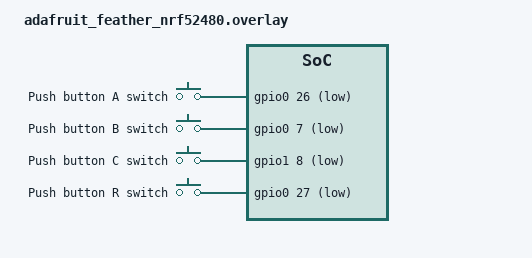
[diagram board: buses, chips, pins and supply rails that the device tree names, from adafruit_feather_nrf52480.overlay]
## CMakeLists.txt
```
cmake_minimum_required(VERSION 3.20.0)
# Top-level CMakeLists.txt for the skeleton application.
#
# Copyright (c) 2017 Open Source Foundries Limited
#
# SPDX-License-Identifier: Apache-2.0
#
# This provides a basic application structure suitable for communication using
# mcumgr.  It can be used as a starting point for new applications.

# Standard Zephyr application boilerplate.
find_package(Zephyr REQUIRED HINTS $ENV{ZEPHYR_BASE})
project(smp_svr)

include(${ZEPHYR_BASE}/cmake/cfb.cmake NO_POLICY_SCOPE)

target_sources(app PRIVATE src/main.c)
target_sources_ifdef(CONFIG_MCUMGR_SMP_BT app PRIVATE src/bluetooth.c)
target_sources_ifdef(CONFIG_MCUMGR_SMP_UDP app PRIVATE src/udp.c)
target_sources(app PRIVATE src/event.c)
target_sources(app PRIVATE src/uievq.c)
target_sources(app PRIVATE src/buttons.c)
target_sources(app PRIVATE src/shell_parse.c)
target_sources(app PRIVATE src/shell_cfb.c)

set(gen_dir ${ZEPHYR_BINARY_DIR}/include/generated/)
generate_cfb_font_for_target(app fonts/magic5.ttf ${gen_dir}/cfb_font_magic5.h 8 8 -s 8 --first 32 --last 126)
```

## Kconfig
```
# rsource "drivers/Kconfig"

#menuconfig USER_INTERFACE
#	   bool "user interface"

#if USER_INTERFACE

config NUMBER_OF_BUTTONS
       int "Number of buttons to use"

config UI_EVENT_QUEUE_SIZE
       int "Number of events the user event queue can hold"

source "Kconfig.zephyr"
#endif
```

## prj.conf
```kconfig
# Enable mcumgr.
CONFIG_MCUMGR=y

# Some command handlers require a large stack.
CONFIG_SYSTEM_WORKQUEUE_STACK_SIZE=2304
CONFIG_MAIN_STACK_SIZE=2048

# Ensure an MCUboot-compatible binary is generated.
CONFIG_BOOTLOADER_MCUBOOT=y

# Enable flash operations.
CONFIG_FLASH=y

# Required by the `taskstat` command.
CONFIG_THREAD_MONITOR=y

# Support for taskstat command
CONFIG_OS_MGMT_TASKSTAT=y

# Enable statistics and statistic names.
CONFIG_STATS=y
CONFIG_STATS_NAMES=y

# Enable most core commands.
CONFIG_MCUMGR_CMD_IMG_MGMT=y
CONFIG_MCUMGR_CMD_OS_MGMT=y
CONFIG_MCUMGR_CMD_STAT_MGMT=y

# Enable logging
CONFIG_LOG=y
CONFIG_MCUBOOT_UTIL_LOG_LEVEL_WRN=y

##
#CONFIG_USER_INTERFACE=y
CONFIG_NUMBER_OF_BUTTONS=5
CONFIG_UI_EVENT_QUEUE_SIZE=10
```

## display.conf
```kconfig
CONFIG_HEAP_MEM_POOL_SIZE=4096

CONFIG_DISPLAY=y
CONFIG_SSD1306=y

CONFIG_CFB_LOG_LEVEL_DBG=y
CONFIG_CHARACTER_FRAMEBUFFER=y
CONFIG_CHARACTER_FRAMEBUFFER_USE_DEFAULT_FONTS=n
CONFIG_SSD1306_REVERSE_MODE=y
CONFIG_I2C=y
```

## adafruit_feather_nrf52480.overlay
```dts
/*
	
*/

/ {
	buttons {
		// D5  is P1.08
		// D6  is P0.07
		// D7  is P1.02 (Button)
		// D8  is P0.16 (NeoPixel)
		// D9  is P0.26
		// D10 is P0.27
		/* GPIO D9 -> P0.26 */
		buttonA: button_a {
			gpios = <&gpio0 26 (GPIO_PULL_UP | GPIO_ACTIVE_LOW)>;
			label = "Push button A switch";
		};
		/* GPIO D6 -> P0.07 */
		buttonB: button_b {
			gpios = <&gpio0 7 (GPIO_PULL_UP | GPIO_ACTIVE_LOW)>;
			label = "Push button B switch";
		};
		/* GPIO D5 -> P1.08 */
		buttonC: button_c {
			gpios = <&gpio1 8 (GPIO_PULL_UP | GPIO_ACTIVE_LOW)>;
			label = "Push button C switch";
		};
		/* GPIO D10 -> P0.27 */
		buttonR: button_r {
			gpios = <&gpio0 27 (GPIO_PULL_UP | GPIO_ACTIVE_LOW)>;
			label = "Push button R switch";			
		};
	};
};

/ {
	aliases {
		sw1 = &buttonA;
		sw2 = &buttonB;
		sw3 = &buttonC;
		sw4 = &buttonR;
	};
};

/*
Local Variables: 
mode: dts
End:
*/
```

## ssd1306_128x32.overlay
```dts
/*
 * Copyright (c) 2019 PHYTEC Messtechnik GmbH
 *
 * SPDX-License-Identifier: Apache-2.0
 */

/ {
	chosen {
		zephyr,display = &ssd1306;
	};
};

&i2c0 {
	status = "okay";

	ssd1306: ssd1306@3c {
		compatible = "solomon,ssd1306fb";
		reg = <0x3c>;
		label = "SSD1306";
		width = <128>;
		height = <32>;
		segment-offset = <0>;
		page-offset = <0>;
		display-offset = <0>;
		multiplex-ratio = <31>;
		segment-remap;
		com-invdir;
		com-sequential;
		prechargep = <0x22>;
	};
};
```

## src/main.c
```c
/*
 * Copyright (c) 2012-2014 Wind River Systems, Inc.
 * Copyright (c) 2020 Prevas A/S
 *
 * SPDX-License-Identifier: Apache-2.0
 */

#include <zephyr/kernel.h>
#include <zephyr/stats/stats.h>
#include <zephyr/usb/usb_device.h>
#include <zephyr/drivers/gpio.h>
#include <zephyr/display/cfb.h>
#include "cfb_font_magic5.h"

#ifdef CONFIG_MCUMGR_CMD_FS_MGMT
#include <zephyr/device.h>
#include <zephyr/fs/fs.h>
#include "fs_mgmt/fs_mgmt.h"
#include <zephyr/fs/littlefs.h>
#endif
#ifdef CONFIG_MCUMGR_CMD_OS_MGMT
#include "os_mgmt/os_mgmt.h"
#endif
#ifdef CONFIG_MCUMGR_CMD_IMG_MGMT
#include "img_mgmt/img_mgmt.h"
#endif
#ifdef CONFIG_MCUMGR_CMD_STAT_MGMT
#include "stat_mgmt/stat_mgmt.h"
#endif
#ifdef CONFIG_MCUMGR_CMD_SHELL_MGMT
#include "shell_mgmt/shell_mgmt.h"
#endif
#ifdef CONFIG_MCUMGR_CMD_FS_MGMT
#include "fs_mgmt/fs_mgmt.h"
#endif

#define LOG_LEVEL LOG_LEVEL_DBG
#include <zephyr/logging/log.h>
LOG_MODULE_REGISTER(smp_sample, LOG_LEVEL_DBG);

#include "common.h"

#include "uievq.h"
#include "buttons.h"
#include "shell_cfb.h"

/* Define an example stats group; approximates seconds since boot. */
STATS_SECT_START(smp_svr_stats)
STATS_SECT_ENTRY(ticks)
STATS_SECT_END;

/* Assign a name to the `ticks` stat. */
STATS_NAME_START(smp_svr_stats)
STATS_NAME(smp_svr_stats, ticks)
STATS_NAME_END(smp_svr_stats);

/* Define an instance of the stats group. */
STATS_SECT_DECL(smp_svr_stats) smp_svr_stats;

/* #ifdef CONFIG_MCUMGR_CMD_FS_MGMT */
/* FS_LITTLEFS_DECLARE_DEFAULT_CONFIG(cstorage); */
/* static struct fs_mount_t littlefs_mnt = { */
/* 	.type = FS_LITTLEFS, */
/* 	.fs_data = &cstorage, */
/* 	.storage_dev = (void *)FLASH_AREA_ID(storage), */
/* 	.mnt_point = "/lfs1" */
/* }; */
/* #endif */


void main(void)
{
  int rc = STATS_INIT_AND_REG(smp_svr_stats, STATS_SIZE_32,
			      "smp_svr_stats");
  
  if (rc < 0) {
    LOG_ERR("Error initializing stats system [%d]", rc);
  }

  /* Register the built-in mcumgr command handlers. */
/* #ifdef CONFIG_MCUMGR_CMD_FS_MGMT */
/*   rc = fs_mount(&littlefs_mnt); */
/*   if (rc < 0) { */
/*     LOG_ERR("Error mounting littlefs [%d]", rc); */
/*   } */
  
/*   fs_mgmt_register_group(); */
/* #endif */
#ifdef CONFIG_MCUMGR_CMD_OS_MGMT
  os_mgmt_register_group();
#endif
#ifdef CONFIG_MCUMGR_CMD_IMG_MGMT
  img_mgmt_register_group();
#endif
#ifdef CONFIG_MCUMGR_CMD_STAT_MGMT
  stat_mgmt_register_group();
#endif
#ifdef CONFIG_MCUMGR_CMD_SHELL_MGMT
  shell_mgmt_register_group();
#endif
#ifdef CONFIG_MCUMGR_CMD_FS_MGMT
  fs_mgmt_register_group();
#endif
#ifdef CONFIG_MCUMGR_SMP_BT
  start_smp_bluetooth();
#endif
#ifdef CONFIG_MCUMGR_SMP_UDP
  start_smp_udp();
#endif

  if (IS_ENABLED(CONFIG_USB_DEVICE_STACK)) {
    rc = usb_enable(NULL);
    if (rc) {
      LOG_ERR("Failed to enable USB");
      return;
    }
  }

  ui_evq_init();
  init_buttons();

  const struct device *dev;

  dev = DEVICE_DT_GET(DT_CHOSEN(zephyr_display));
  if (!device_is_ready(dev)) {
    LOG_ERR("Device %s not ready\n", dev->name);
    return;
  }
  
  if (display_set_pixel_format(dev, PIXEL_FORMAT_MONO10) != 0) {
    LOG_ERR("Failed to set required pixel format\n");
    return;
  }
  LOG_INF("Initialized %s\n", dev->name);
  
  if (cfb_framebuffer_init(dev)) {
    LOG_ERR("Framebuffer initialization failed!\n");
    return;
  }
  cfb_framebuffer_set_font(dev, 0);	      
  //cfb_framebuffer_invert(dev);
  cfb_framebuffer_clear(dev, true);
  display_blanking_off(dev);
  cfb_framebuffer_finalize(dev);
  
  LOG_INF("build time: " __DATE__ " " __TIME__);
  
  /* The system work queue handles all incoming mcumgr requests.  Let the
   * main thread idle while the mcumgr server runs.
   */
  // char buf[32];
  enable_shell_cfb(NULL);
  while (1) {
    k_sleep(Z_TIMEOUT_MS(1000));
    shell_cfb_event_loop( dev);
    /* uint32_t ev = ui_evq_get( K_FOREVER); */
    /* int btn = FIELD_GET( BTN_NR_MASK, ev); */
    /* int state = FIELD_GET( BTN_STATE_BIT, ev); */
    
    /* if (btn == 4 && state == 0) { */
    /*   cfb_framebuffer_clear(dev, true); */
    /*   cfb_framebuffer_finalize(dev); */
    /*   gpio_pin_set(led0, PIN, 0); */
    /* } else { */
    /*   cfb_framebuffer_clear(dev, false); */
    /*   snprintf(buf, sizeof(buf), "%d, %d", btn, state); */
    /*   cfb_print(dev, buf, 0, 0); */
    /*   cfb_framebuffer_finalize(dev); */
    /*   gpio_pin_set(led0, PIN, 1);	       */
    /*  } */
  }
}
```

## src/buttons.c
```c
#include "buttons.h"
#include <zephyr/device.h>
#include <zephyr/drivers/gpio.h>

#define LOG_LEVEL LOG_LEVEL_DBG
#include <zephyr/logging/log.h>
LOG_MODULE_REGISTER( buttons);

#define NR_OF_BUTTONS CONFIG_NUMBER_OF_BUTTONS

static uint8_t default_pin_values[NR_OF_BUTTONS];
static struct gpio_callback callback[NR_OF_BUTTONS];

K_EVENT_DEFINE( bt_events);

extern struct k_event* button_events()
{ return &bt_events; }

/*
 * Create gpio_dt_spec structures from the devicetree.
 */
#define BUTTON_SPEC( n, _)					\
  static const struct gpio_dt_spec sw##n =			\
    GPIO_DT_SPEC_GET_OR( DT_ALIAS( sw##n ), gpios, {0});

LISTIFY( NR_OF_BUTTONS, BUTTON_SPEC, (;));

/* Devices */

#define BUTTON_CALLBACK( n, _)						\
  void btn##n( const struct device *gpio, struct gpio_callback* cb, uint32_t val) \
  {									\
    const int ret = gpio_pin_get( gpio, sw##n.pin);			\
    if (ret < 0) {							\
      LOG_ERR("Failed to get the state of port %s pin %u, error: %d",	\
	      gpio->name, sw##n.pin, ret);				\
      return;								\
    }									\
    k_event_set_masked							\
      ( &bt_events,							\
	(default_pin_values[(n)] != (uint8_t)ret) ?			\
      BIT( 2*n+1) : BIT( 2*n), GENMASK( 2*n+1, 2*n));			\
  }

LISTIFY( NR_OF_BUTTONS, BUTTON_CALLBACK, (;));

int callback_configure
( const struct gpio_dt_spec *spec,
  gpio_callback_handler_t handler,
  struct gpio_callback *cb )
{
  if (!spec->port) {
    LOG_ERR("Could not find gpio PORT");
    return -ENXIO;
  }
  gpio_pin_configure_dt( spec, GPIO_INPUT /* | GPIO_INT_DEBOUNCE */ );
  gpio_init_callback( cb, handler, BIT( spec->pin));
  gpio_add_callback( spec->port, cb);
  gpio_pin_interrupt_configure( spec->port, spec->pin, GPIO_INT_EDGE_BOTH);
  return 0;
}

#define CALLBACK_CONFIGURE(n, _)			\
  callback_configure( &sw##n, &btn##n, &callback[n] );						

void init_buttons()
{
  LISTIFY( NR_OF_BUTTONS, CALLBACK_CONFIGURE, (;));
}
```

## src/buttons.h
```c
#include <zephyr/kernel.h>

extern struct k_event* button_events();
void init_buttons();
```

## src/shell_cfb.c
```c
/*
 * Shell backend used for testing
 *
 * Copyright (c) 2018 Nordic Semiconductor ASA
 *
 * SPDX-License-Identifier: Apache-2.0
 */

#include "shell_cfb.h"
#include "shell_parse.h"
#include "strbuf.h" 
#include <zephyr/sys/util.h>
#include <zephyr/init.h>
#include <zephyr/logging/log.h>
#include <zephyr/logging/log_core.h>
#include <zephyr/display/cfb.h>

#include "buttons.h"

#define SHELL_CFB_LOG_MESSAGE_QUEUE_SIZE 100
#define SHELL_CFB_LOG_MESSAGE_QUEUE_TIMEOUT 1000
//#define CMD_ALT_SIZE 256
//#define CMD_CHS_SIZE 256
#define SHELL_PROMPT_CFB "cfb$"

SHELL_CFB_DEFINE(shell_transport_cfb, SHELL_PROMPT_CFB, 128, 128, 128);
SHELL_DEFINE(shell_cfb, SHELL_PROMPT_CFB, &shell_transport_cfb,
	     SHELL_CFB_LOG_MESSAGE_QUEUE_SIZE,
	     SHELL_CFB_LOG_MESSAGE_QUEUE_TIMEOUT,
	     SHELL_FLAG_OLF_CRLF);
LOG_MODULE_REGISTER(shell_cfb, LOG_LEVEL_DBG);

struct shell_cfb *sh_cfb;

RING_BUF_DECLARE( rx_ringbuf, 64); // size...64

#define SHELL_WRITE_EVENT BIT(31)

static int init(const struct shell_transport *transport,
		const void *config,
		shell_transport_handler_t evt_handler,
		void *context)
{
  sh_cfb = (struct shell_cfb *) transport->ctx;  
  sh_cfb->shell_handler = evt_handler;
  sh_cfb->shell_context = context;
  ring_buf_reset( &rx_ringbuf);
  return 0;
}

#define BTN1P 0x8
#define BTN2P 0x20
#define BTN3P 0x80

void shell_cfb_event_loop( const struct device *cfb) {
  /* LOG_INF( "event_loop: vt=%d,ct=%d,alt='%s',alt.size=%d,cmd='%s',cmd.size=%d", */
  /* 	   sh_cfb->vt, sh_cfb->ct, */
  /* 	   sh_cfb->alt->buffer, sh_cfb->alt->size, */
  /* 	   sh_cfb->cmd->buffer, sh_cfb->cmd->size); */
  
  size_t alt_pos = 0;
  while (1) {
    //LOG_INF( "alt_pos:%d,alt_size:%d",alt_pos,sh_cfb->alt->size);
    bool refresh_display = false; 
    uint32_t ev_ = k_event_wait( button_events(), 0xffffffff, true, K_FOREVER);
    // btn1 tab pressed
    if ( ev_ & BTN1P ) {
      LOG_INF( "BTN1P tab button");
      // cycle through alternatives
      size_t alt_pos_ = alt_pos; // store where we started
      while( alt_pos < sh_cfb->p->alt->size && sh_cfb->p->alt->buffer[ alt_pos] != ' ')
	++alt_pos;
      if( alt_pos < sh_cfb->p->alt->size) {
	++alt_pos; // advance to next entry
	refresh_display = true;
      }
      else if( alt_pos == sh_cfb->p->alt->size) { // we are on the end
	if( alt_pos_ == 0) {
	  // we had only one alternative or no at all
	  // so we sent the tab key to the shell
	  uint8_t *data;
	  ring_buf_put_claim( &rx_ringbuf, &data, rx_ringbuf.size);
	  strcpy( data, "\t");
	  ring_buf_put_finish( &rx_ringbuf, strlen( data));
	  sh_cfb->shell_handler( SHELL_TRANSPORT_EVT_RX_RDY,
				 sh_cfb->shell_context);    
	} else {
	  alt_pos = 0; // wrap around
	  refresh_display = true;
	}
      }
    }
    if( ev_ & BTN2P ) {
      LOG_INF( "BTN2P");
      // choose current alternative
      uint8_t *data;
      ring_buf_put_claim( &rx_ringbuf, &data, rx_ringbuf.size);
      strcpy( data, sh_cfb->p->alt->buffer + alt_pos);
      strcat( data, " \t");
      ring_buf_put_finish( &rx_ringbuf, strlen( data));
      // we already have choosed the root 
      sh_cfb->shell_handler( SHELL_TRANSPORT_EVT_RX_RDY,
			     sh_cfb->shell_context);    
    }
    if( ev_ & BTN3P ) {
      LOG_INF( "BTN3P");
      // execute command
      uint8_t *data;
      ring_buf_put_claim( &rx_ringbuf, &data, rx_ringbuf.size);
      strcpy( data, "\r");
      ring_buf_put_finish( &rx_ringbuf, strlen( data));
      // we would like to receive the result
      sh_cfb->shell_handler( SHELL_TRANSPORT_EVT_RX_RDY,
			     sh_cfb->shell_context);      
    }
    if ( (ev_ & SHELL_WRITE_EVENT) || refresh_display ) {
      LOG_INF( "Display" );
      char buf[128];
      size_t i = 0, j = 0;
      while( j < sh_cfb->p->cmd->size && i < 128) 
	buf[i++] = sh_cfb->p->cmd->buffer[ j++];
      j = alt_pos;
      while( j < sh_cfb->p->alt->size && i < 128) 
	buf[i++] = sh_cfb->p->alt->buffer[ j++];
      if( i < 128) buf[i]='\0'; else buf[127]='\0';
      cfb_framebuffer_clear(cfb, false);
      cfb_print( cfb, buf, 0, 0); 
      cfb_framebuffer_finalize( cfb);      
    }
  }
}

static int uninit(const struct shell_transport *transport)
{
  if ( sh_cfb == NULL) {
    return -ENODEV;
  }
  return 0;
}

static int enable(const struct shell_transport *transport, bool blocking)
{
  if (sh_cfb == NULL) {
    return -ENODEV;
  }
  
  return 0;
}

static int write(const struct shell_transport *transport,
		 const void *data, size_t length, size_t *cnt)
{
  if ( sh_cfb == NULL) {
    *cnt = 0;
    return -ENODEV;
  }
  const char* data_ = (const char *) data;
  //LOG_HEXDUMP_INF( data_, length,"write data:");
  *cnt = shell_parse(  data_, length, sh_cfb->p);
  /* LOG_INF( "ct=%d,cmd='%s',alt='%s',out='%s'", */
  /* 	   sh_cfb->p->ct, */
  /* 	   sh_cfb->p->cmd->buffer, */
  /* 	   sh_cfb->p->alt->buffer, */
  /* 	   sh_cfb->p->out->buffer); */
  
  k_event_post( button_events(), SHELL_WRITE_EVENT);  
  sh_cfb->shell_handler( SHELL_TRANSPORT_EVT_TX_RDY,
			 sh_cfb->shell_context);
  return 0;
}

static int read(const struct shell_transport *transport,
		void *data, size_t length, size_t *cnt)
{
  if ( sh_cfb == NULL) {
    return -ENODEV;
  }
  *cnt = ring_buf_get( &rx_ringbuf, data, length);
  return 0;
}

const struct shell_transport_api shell_cfb_transport_api = {
  .init = init,
  .uninit = uninit,
  .enable = enable,
  .write = write,
  .read = read
};

int enable_shell_cfb(const struct device *arg)
{
  ARG_UNUSED(arg);
  static const struct shell_backend_config_flags cfg_flags =
    {						
      .insert_mode	= 0,
      .echo		= 1,
      .obscure	        = 0,				
      .mode_delete	= 0,			
      .use_colors	= 0,			
      .use_vt100	= 1,			
    };
  shell_init(&shell_cfb, NULL, cfg_flags, false, LOG_LEVEL_ERR);
  return 0;
}

//SYS_INIT(enable_shell_cfb, POST_KERNEL, 0);

const struct shell *shell_backend_cfb_get_ptr(void)
{
  return &shell_cfb;
}
```

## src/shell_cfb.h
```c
#ifndef SHELL_CFB_H__
#define SHELL_CFB_H__

#include <zephyr/shell/shell.h>
#include "strbuf.h"
#include "shell_parse.h"
#ifdef __cplusplus
extern "C" {
#endif
  
  extern const struct shell_transport_api shell_cfb_transport_api;
  
  struct shell_cfb {
    /** Handler function registered by shell. */
    shell_transport_handler_t shell_handler;
    /** Context registered by shell. */
    void *shell_context;
    struct shell_parse_t *p;
  };

#define SHELL_CFB_DEFINE(_name, _prompt, _cmd_buf_size,			\
			 _alt_buf_size, _out_buf_size)			\
  SHELL_PARSE_DEFINE( _name##_p, _prompt, _cmd_buf_size,		\
		      _alt_buf_size, _out_buf_size);			\
  static struct shell_cfb _name##_shell_cfb = {				\
    .p = &_name##_p_shell_parse						\
  };                                                                    \
  struct shell_transport _name = {					\
    .api = &shell_cfb_transport_api,                                    \
    .ctx = (struct shell_cfb *)&_name##_shell_cfb,                      \
  };
  int enable_shell_cfb( const struct device *arg);
  void shell_cfb_event_loop( const struct device *cfb);
#ifdef __cplusplus
}
#endif

#endif /* SHELL_CFB_H__ */
```

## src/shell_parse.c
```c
#include "shell_parse.h"
#include "strbuf.h"
#include <zephyr/logging/log.h>
LOG_MODULE_REGISTER(shell_parse, LOG_LEVEL_DBG);

/**
  Parsing the shell output
  ------------------------
  We characterize our approach
  - the shell prompt followed by a space is the indicator for
    a following command and or alternatives in the next,
    this line is the command line
  - alternatives start on a new line with spaces imediatly after
    the command line
  - all other text is output
  
*/

extern size_t shell_parse( const char* data, size_t length, 
			   struct shell_parse_t *p)
{
  int j = 0;
  for(; j < length; ++j) {
    // check the current character
    char c = data[j];
    // we save the last vt state if it is one of .. and differs to the
    // last state
    if( p->vt == Separator || p->vt == Character || p->vt == Newline) {
      if( p->vt_ == p->vt ) { p->vt_ = p->vt__; }
      else {
	if( p->vt__ != p->vt_) p->vt__ = p->vt_;
	p->vt_ = p->vt;
      }
    }
    if( c == 0x1b) { p->vt = Escape; continue; }
    if( p->vt == Escape && c == '[') { p->vt = EscapeBracket; continue; }
    if( p->vt == EscapeBracket ) {
      p->vt = Character;
      if( c == 'm' ) continue; // MODESOFF 
      if( c >= '0' && c <= '9') { p->vt = EscapeNumArg; continue; }
      continue;
    }
    if( p->vt == EscapeNumArg ) {
      if( c >= '0' && c <= '9')	continue;
      if( c == 'C' || c == 'D' ) { p->vt = Separator; continue; } // DIRECTION
      p->vt = Character; continue;
    }
    if( c == ' ') { p->vt = Separator; continue; }
    if( c == '\r' || c == '\n' ) { p->vt = Newline; continue; }
    // test for prompt
    if( (p->vt == Newline && p->prompt_i == 0) || p->ct == Prompt ) {      
      const char c_ = p->prompt[ p->prompt_i];
      // entire prompt has matched
      if( c_ == '\0') {
	LOG_INF("prompt: vt__=%d,vt_=%d,vt=%d", p->vt__, p->vt_, p->vt);
	// we got a newline followed by separator with no content before
	if( p->vt_ == Newline && p->vt == Separator) {
	  // Command line has ended and next line started with separator
	  // this means that we read in alternatives now
	  p->alt->size=0; p->ct = Alt;
	} else /*if( p->vt == Separator)*/ {
	  // change to Cmd context 
	  p->cmd->size=0; p->ct = Cmd; 
	}
	p->prompt_i = 0;
      } else if( c_ == c) {
	// charater matched, advance to next
	p->ct = Prompt; ++(p->prompt_i);
	p->vt = Character;
      } else {
	// character mismatch, write already matched chars to
	// Out Buffer and change to Out context
	// the mismatched char will be read in the Out context handling
	size_t i = 0;
	while( i < p->prompt_i) {
	  p->out->buffer[ p->out->size] = p->prompt[ i++];
	  STR_BUF_INC( p->out);
	}
	p->prompt_i = 0;
	p->ct = Out;
      }
    }
    if( p->ct == Cmd && p->vt == Newline) {
      // new line was not followed by separtor, this means output
      p->out->size=0; p->ct=Out;
    }
    // fill the buffers accordingly to their context
    if( p->ct == Cmd) {
      if( p->vt == Separator && p->cmd->size > 0 ) {
	p->cmd->buffer[ p->cmd->size] = ' '; STR_BUF_INC( p->cmd);
      }
      p->cmd->buffer[ p->cmd->size] = c; STR_BUF_INC( p->cmd);
    } else if( p->ct == Out) {
      if( p->vt == Separator && p->out->size > 0 ) {
	p->out->buffer[ p->out->size] = ' '; STR_BUF_INC( p->out);
      }
      p->out->buffer[ p->out->size] = c; STR_BUF_INC( p->out);
    } else if( p->ct == Alt) {
      if( p->vt == Separator && p->alt->size > 0 ) {
	p->alt->buffer[ p->alt->size] = ' '; STR_BUF_INC( p->alt);
      }
      p->alt->buffer[ p->alt->size] = c; STR_BUF_INC( p->alt);
    }
    p->vt = Character; // we can overwrite this now
  }
  p->cmd->buffer[ p->cmd->size] = '\0';
  p->alt->buffer[ p->alt->size] = '\0';
  p->out->buffer[ p->out->size] = '\0';
  return j;
}
```

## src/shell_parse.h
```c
#ifndef SHELL_PARSE_H__
#define SHELL_PARSE_H__

#include <zephyr/types.h>
#include "strbuf.h"

enum vt_state {
  Character,
  Escape,
  EscapeBracket,
  EscapeNumArg,
  Newline,
  Separator
};

enum ct_state {
  Prompt,
  Cmd,
  Alt,
  Out
};

struct shell_parse_t {
  const char *prompt;  // shell prompt, this signals an command line
  size_t prompt_i;     // actual index of prompt for comparing
  enum vt_state vt;    // virtual terminal state
  enum vt_state vt_;   // the proceeding vt state
  enum vt_state vt__;  // prepreceeding
  enum ct_state ct;    // actual context
  struct str_buf *cmd; // command line
  struct str_buf *alt; // alternatives
  struct str_buf *out; // command result output
};

#define SHELL_PARSE_DEFINE(_name, _prompt, _cmd_buf_size,		\
			   _alt_buf_size, _out_buf_size)		\
  STR_BUF_DECLARE(_name##_cmd_buf, _cmd_buf_size);			\
  STR_BUF_DECLARE(_name##_alt_buf, _alt_buf_size);			\
  STR_BUF_DECLARE(_name##_out_buf, _out_buf_size);			\
  static struct shell_parse_t _name##_shell_parse = {			\
    .prompt = _prompt,							\
    .prompt_i = 0,							\
    .vt  = Newline,							\
    .vt_ = Character,							\
    .vt__ = Character,							\
    .ct  = Out,								\
    .cmd = &_name##_cmd_buf,						\
    .alt = &_name##_alt_buf,						\
    .out = &_name##_out_buf						\
  };                                                                    

extern size_t shell_parse( const char* data, size_t length, 
			   struct shell_parse_t *p);

#endif // SHELL_PARSE_H__
```

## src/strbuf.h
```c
#ifndef STRBUF_H__
#define STRBUF_H__

struct str_buf {
  char  *buffer;
  size_t size; // current size of string
  size_t max_size;
};

#define STR_BUF_DECLARE(name, size_)			\
  static char __noinit _str_buf_data_##name[size_];	\
  struct str_buf name = {				\
    .buffer = _str_buf_data_##name,			\
    .size = 0,						\
    .max_size = size_					\
  }

#define STR_BUF_INC( s) if( s->size < (s->max_size-1)) ++(s->size); 

#endif // STRBUF_H__
```

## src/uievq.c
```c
#include <kernel.h>
#include "uievq.h"

#define LOG_LEVEL LOG_LEVEL_ERR
#include <logging/log.h>
LOG_MODULE_REGISTER( uievq);

struct ui_evt_t {
  sys_snode_t node;
  uint32_t    event;
};

static struct ui_evt_t fifo_data[ CONFIG_UI_EVENT_QUEUE_SIZE];

static struct k_fifo fifo_free;
static struct k_fifo fifo_used; 

void ui_evq_init( void)
{
  k_fifo_init( &fifo_free);
  k_fifo_init( &fifo_used);
  for( int i = 0; i < ARRAY_SIZE( fifo_data);  ++i) {
    k_fifo_put( &fifo_free, &fifo_data[i]);
  }
}

void ui_evq_put( uint32_t ev) {
  struct ui_evt_t* ev_ = k_fifo_get( &fifo_free, K_NO_WAIT);
  if( ev_ == NULL) {
    LOG_ERR( "ui_evq_put: failed to aquire free event store.");
  } else {
    ev_->event = ev;
    k_fifo_put( &fifo_used, ev_);
  }
}

uint32_t ui_evq_get( k_timeout_t timeout) {
  struct ui_evt_t* ev_ = k_fifo_get( &fifo_used, timeout);
  if( ev_ == NULL) {
    return 0;
  } else {
    uint32_t ev = ev_->event;
    k_fifo_put( &fifo_free, ev_);
    return ev;
  }
}

void ui_evq_flush( void) {
  uint32_t ev;
  do {
    ev = ui_evq_get( K_NO_WAIT);
  } while (ev != 0);
}
```

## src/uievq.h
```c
/*
  user interface event queue
*/
#include <sys/util.h>

#define EVENT_TYPE_MASK GENMASK( 31, 29)

void ui_evq_put( uint32_t);
struct k_timeout_t;
uint32_t ui_evq_get( k_timeout_t timeout);
// 
void ui_evq_flush( void);

void ui_evq_init();
```
